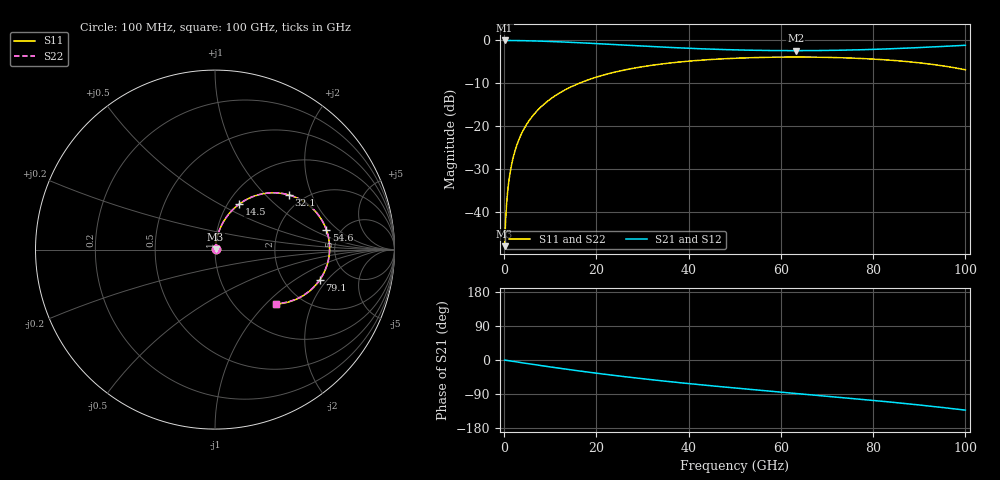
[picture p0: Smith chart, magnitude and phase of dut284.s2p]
! Touchstone file exported from HFSS 2026.1.0
!  File:  C:/ffzhzh/LocalFiles/Ansys_Project_Files/temp_train_RDL_284_1783502096_55944.aedt
!  Generated:  05:16:27 PM Jul  8, 2026
!  Design:  RDL
!  Project:  temp_train_RDL_284_1783502096_55944
! Variables:
!  h_bsmrdl = 2um
!  h_ox = 20um
!  h_rdl = 5um
!  h_sub = 80um
!  h_tmrdl = 3.99um
!  h_tsv = 80um
!  h_via = 3um
!  l_bsmrdl = 300um
!  l_sub = 869.61um
!  l_tmrdl = 469.61um
!  m_sub = 200um
!  pitch = 41.04um
!  r_tsv = 6um
!  s_tmrdl = 10um
!  w_bsmrdl = 18um
!  w_sub = 500um
!  w_tmrdl = 13.12um
!  x_tsv_center1 = 476.17um
!  x_tsv_center2 = 794.17um
!  x_tsv_center3 = 1276.9um
!  x_tsv_center4 = 1594.9um
!  x_tsv_center5 = 2077.63um
!  x_tsv_center6 = 2395.63um
# GHz S MA R 50.000000
! Terminal data exported
! Port[1] = TM_RDL1_1_T1
! Port[2] = TM_RDL1_1_T2
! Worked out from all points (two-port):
!   1000 points, 100 MHz to 100 GHz, reference 50 ohm
!   highest |S21| = -0.03 dB at 100 MHz (marker M1); lowest = -2.4 dB at 63.2 GHz (marker M2)
!   |S21| within 3 dB of the highest: start of sweep to end of sweep
!   lowest |S11| = -48.0 dB at 100 MHz (marker M3), VSWR 1.01, Z = 50.3 + j0.231 ohm
!   |S11| at or under -10 dB: start of sweep to 16.29 GHz
!   |S22| runs from -48.0 to -3.9 dB; largest |S21 - S12| = 1.7e-14
!   S11 on the Smith chart (normalised r, x): 100 MHz: 1.01, +0.00; 14.5 GHz: 1.13, +0.62; 32.1 GHz: 1.69, +1.39; 54.6 GHz: 3.84, +1.42; 79.1 GHz: 3.14, -1.67; 100 GHz: 1.50, -1.14
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0.1  0.003994 35.0  0.9967 -0.2  0.9967 -0.2  0.003994 35.0
! Gamma 0 0 0 0
! Port Impedance 50 0 50 0
0.9  0.02028 77.6  0.996 -1.7  0.996 -1.7  0.02028 77.6
1.4  0.03101 80.0  0.9956 -2.7  0.9956 -2.7  0.03101 80.0
2.3  0.05037 80.8  0.9945 -4.3  0.9945 -4.3  0.05036 80.8
3.6  0.0781 79.6  0.992 -6.8  0.992 -6.8  0.0781 79.6
5.4  0.1157 77.0  0.9873 -10.1  0.9873 -10.1  0.1157 77.0
7.8  0.164 73.0  0.9791 -14.4  0.9791 -14.4  0.164 73.0
10.8  0.2212 68.0  0.9663 -19.7  0.9663 -19.7  0.2212 68.0
14.5  0.2868 62.0  0.9478 -26.0  0.9478 -26.0  0.2867 62.0
16.8  0.3244 58.3  0.9351 -29.8  0.9351 -29.8  0.3244 58.4
23.7  0.4224 47.9  0.8945 -40.5  0.8945 -40.5  0.4224 48.0
32.1  0.5128 36.4  0.8462 -52.2  0.8462 -52.2  0.5128 36.5
33.4  0.5241 34.7  0.8393 -54.0  0.8393 -54.0  0.5241 34.8
41.8  0.5825 24.4  0.8006 -64.4  0.8006 -64.4  0.5825 24.5
50.1  0.6183 15.1  0.7741 -73.9  0.7741 -73.9  0.6183 15.2
54.6  0.63 10.2  0.765 -78.9  0.765 -78.9  0.63 10.3
63.2  0.6387 1.1  0.7581 -88.1  0.7581 -88.1  0.6386 1.3
66.7  0.6373 -2.6  0.7593 -91.9  0.7593 -91.9  0.6372 -2.4
79.1  0.6084 -16.0  0.7817 -105.6  0.7817 -105.6  0.6084 -15.8
83.4  0.5887 -20.9  0.7959 -110.6  0.7959 -110.6  0.5887 -20.6
92.4  0.5282 -31.8  0.8352 -121.8  0.8352 -121.8  0.5282 -31.5
100  0.4535 -41.9  0.8759 -132.3  0.8759 -132.3  0.4535 -41.6
